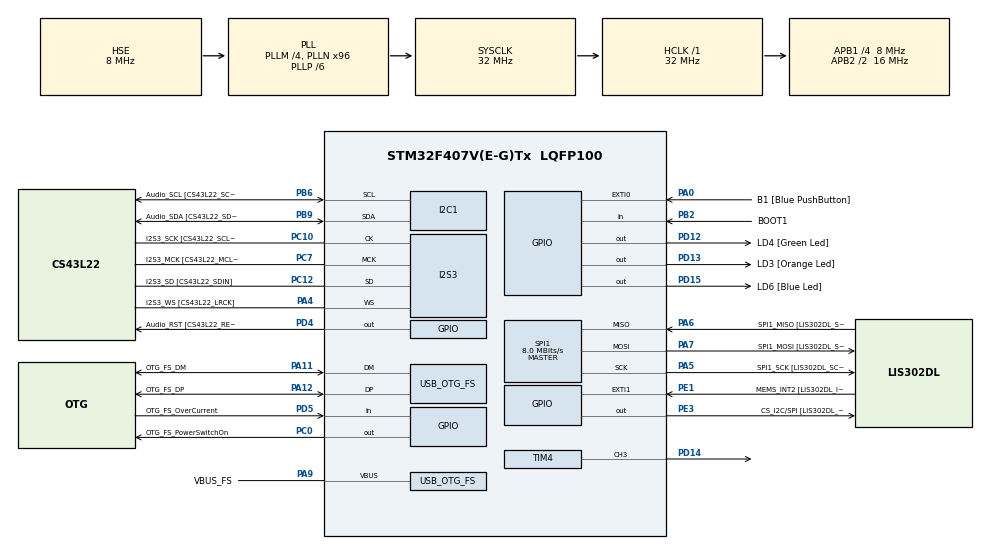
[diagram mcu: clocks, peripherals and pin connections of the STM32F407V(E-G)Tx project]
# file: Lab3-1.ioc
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I2S3.AudioFreq=I2S_AUDIOFREQ_96K
I2S3.AudioFreq-Half_Duplex_Master=I2S_AUDIOFREQ_96K
I2S3.ErrorAudioFreq=- %
I2S3.ErrorAudioFreq-Half_Duplex_Master=0.8 %
I2S3.FullDuplexMode=I2S_FULLDUPLEXMODE_DISABLE
I2S3.Instance=SPI$Index
I2S3.RealAudioFreq=- Hz
I2S3.RealAudioFreq-Half_Duplex_Master=96.774 KHz
I2S3.VirtualMode=I2S_MODE_MASTER
Mcu.Family=STM32F4
Mcu.Name=STM32F407V(E-G)Tx
Mcu.Package=LQFP100
NVIC.EXTI0_IRQn=true\:2\:0\:true\:false\:true\:true\:true
NVIC.OTG_FS_IRQn=true\:0\:0\:false\:false\:true\:true\:true
NVIC.PriorityGroup=NVIC_PRIORITYGROUP_2
NVIC.TIM4_IRQn=true\:2\:0\:true\:false\:true\:true\:true
PA0-WKUP.GPIO_Label=B1 [Blue PushButton]
PA0-WKUP.GPIO_ModeDefaultEXTI=GPIO_MODE_IT_RISING
PA0-WKUP.GPIO_PuPd=GPIO_NOPULL
PA0-WKUP.Signal=GPXTI0
PA10.GPIO_Label=OTG_FS_ID
PA10.GPIO_Mode=GPIO_MODE_AF_PP
PA10.GPIO_PuPd=GPIO_NOPULL
PA10.GPIO_Speed=GPIO_SPEED_FREQ_LOW
PA10.Signal=USB_OTG_FS_ID
PA11.GPIO_Label=OTG_FS_DM
PA11.GPIO_Mode=GPIO_MODE_AF_PP
PA11.GPIO_PuPd=GPIO_NOPULL
PA11.GPIO_Speed=GPIO_SPEED_FREQ_LOW
PA11.Mode=Host_Only
PA11.Signal=USB_OTG_FS_DM
PA12.GPIO_Label=OTG_FS_DP
PA12.GPIO_Mode=GPIO_MODE_AF_PP
PA12.GPIO_PuPd=GPIO_NOPULL
PA12.GPIO_Speed=GPIO_SPEED_FREQ_LOW
PA12.Mode=Host_Only
PA12.Signal=USB_OTG_FS_DP
PA13.GPIO_Label=SWDIO
PA13.Mode=Serial_Wire
PA13.Signal=SYS_JTMS-SWDIO
PA14.GPIO_Label=SWCLK
PA14.Mode=Serial_Wire
PA14.Signal=SYS_JTCK-SWCLK
PA4.GPIO_Label=I2S3_WS [CS43L22_LRCK]
PA4.GPIO_Mode=GPIO_MODE_AF_PP
PA4.GPIO_PuPd=GPIO_NOPULL
PA4.GPIO_Speed=GPIO_SPEED_FREQ_LOW
PA4.Mode=Half_Duplex_Master
PA4.Signal=I2S3_WS
PA5.GPIO_Label=SPI1_SCK [LIS302DL_SCL/SPC]
PA5.GPIO_Mode=GPIO_MODE_AF_PP
PA5.GPIO_PuPd=GPIO_NOPULL
PA5.GPIO_Speed=GPIO_SPEED_FREQ_LOW
PA5.Mode=Full_Duplex_Master
PA5.Signal=SPI1_SCK
PA6.GPIO_Label=SPI1_MISO [LIS302DL_SDO]
PA6.GPIO_Mode=GPIO_MODE_AF_PP
PA6.GPIO_PuPd=GPIO_NOPULL
PA6.GPIO_Speed=GPIO_SPEED_FREQ_LOW
PA6.Mode=Full_Duplex_Master
PA6.Signal=SPI1_MISO
PA7.GPIO_Label=SPI1_MOSI [LIS302DL_SDA/SDI/SDO]
PA7.GPIO_Mode=GPIO_MODE_AF_PP
PA7.GPIO_PuPd=GPIO_NOPULL
PA7.GPIO_Speed=GPIO_SPEED_FREQ_LOW
PA7.Mode=Full_Duplex_Master
PA7.Signal=SPI1_MOSI
PA9.GPIO_Label=VBUS_FS
PA9.GPIO_Mode=GPIO_MODE_INPUT
PA9.GPIO_PuPd=GPIO_NOPULL
PA9.Mode=Activate_VBUS
PA9.Signal=USB_OTG_FS_VBUS
PB10.GPIO_Label=CLK_IN [MP45DT02_CLK]
PB10.GPIO_Mode=GPIO_MODE_AF_PP
PB10.GPIO_PuPd=GPIO_NOPULL
PB10.GPIO_Speed=GPIO_SPEED_FREQ_LOW
PB10.Signal=I2S2_CK
PB2.GPIO_Label=BOOT1
PB2.GPIO_Mode=GPIO_MODE_INPUT
PB2.GPIO_PuPd=GPIO_NOPULL
PB2.Signal=GPIO_Input
PB3.GPIO_Label=SWO
PB3.Signal=SYS_JTDO-SWO
PB6.GPIO_Label=Audio_SCL [CS43L22_SCL]
PB6.GPIO_Mode=GPIO_MODE_AF_OD
PB6.GPIO_PuPd=GPIO_NOPULL
PB6.GPIO_Speed=GPIO_SPEED_FREQ_LOW
PB6.Mode=I2C
PB6.Signal=I2C1_SCL
PB9.GPIO_Label=Audio_SDA [CS43L22_SDA]
PB9.GPIO_Mode=GPIO_MODE_AF_OD
PB9.GPIO_PuPd=GPIO_NOPULL
PB9.GPIO_Speed=GPIO_SPEED_FREQ_LOW
PB9.Mode=I2C
PB9.Signal=I2C1_SDA
PC0.GPIO_Label=OTG_FS_PowerSwitchOn
PC0.GPIO_PuPd=GPIO_NOPULL
PC0.GPIO_Speed=GPIO_SPEED_FREQ_LOW
PC0.PinState=GPIO_PIN_SET
PC0.Signal=GPIO_Output
PC10.GPIO_Label=I2S3_SCK [CS43L22_SCLK]
PC10.GPIO_Mode=GPIO_MODE_AF_PP
PC10.GPIO_PuPd=GPIO_NOPULL
PC10.GPIO_Speed=GPIO_SPEED_FREQ_LOW
PC10.Mode=Half_Duplex_Master
PC10.Signal=I2S3_CK
PC12.GPIO_Label=I2S3_SD [CS43L22_SDIN]
PC12.GPIO_Mode=GPIO_MODE_AF_PP
PC12.GPIO_PuPd=GPIO_NOPULL
PC12.GPIO_Speed=GPIO_SPEED_FREQ_LOW
PC12.Mode=Half_Duplex_Master
PC12.Signal=I2S3_SD
PC14-OSC32_IN.GPIO_Label=PC14-OSC32_IN
PC14-OSC32_IN.Mode=LSE-External-Oscillator
PC14-OSC32_IN.Signal=RCC_OSC32_IN
PC15-OSC32_OUT.GPIO_Label=PC15-OSC32_OUT
PC15-OSC32_OUT.Mode=LSE-External-Oscillator
PC15-OSC32_OUT.Signal=RCC_OSC32_OUT
PC3.GPIO_Label=PDM_OUT [MP45DT02_DOUT]
PC3.GPIO_Mode=GPIO_MODE_AF_PP
PC3.GPIO_PuPd=GPIO_NOPULL
PC3.GPIO_Speed=GPIO_SPEED_FREQ_LOW
PC3.Signal=I2S2_SD
PC7.GPIO_Label=I2S3_MCK [CS43L22_MCLK]
PC7.GPIO_Mode=GPIO_MODE_AF_PP
PC7.GPIO_PuPd=GPIO_NOPULL
PC7.GPIO_Speed=GPIO_SPEED_FREQ_LOW
PC7.Mode=Master_Clock_Activated
PC7.Signal=I2S3_MCK
PD12.GPIO_Label=LD4 [Green Led]
PD12.GPIO_PuPd=GPIO_NOPULL
PD12.GPIO_Speed=GPIO_SPEED_FREQ_LOW
PD12.Signal=GPIO_Output
PD13.GPIO_Label=LD3 [Orange Led]
PD13.GPIO_PuPd=GPIO_NOPULL
PD13.GPIO_Speed=GPIO_SPEED_FREQ_LOW
PD13.Signal=GPIO_Output
PD14.Signal=S_TIM4_CH3
PD15.GPIO_Label=LD6 [Blue Led]
PD15.GPIO_PuPd=GPIO_NOPULL
PD15.GPIO_Speed=GPIO_SPEED_FREQ_LOW
PD15.Signal=GPIO_Output
PD4.GPIO_Label=Audio_RST [CS43L22_RESET]
PD4.GPIO_PuPd=GPIO_NOPULL
PD4.GPIO_Speed=GPIO_SPEED_FREQ_LOW
PD4.Signal=GPIO_Output
PD5.GPIO_Label=OTG_FS_OverCurrent
PD5.GPIO_Mode=GPIO_MODE_INPUT
PD5.GPIO_PuPd=GPIO_NOPULL
PD5.Signal=GPIO_Input
PE1.GPIO_Label=MEMS_INT2 [LIS302DL_INT2]
PE1.GPIO_ModeDefaultEXTI=GPIO_MODE_EVT_RISING
PE1.GPIO_PuPd=GPIO_NOPULL
PE1.Signal=GPXTI1
PE3.GPIO_Label=CS_I2C/SPI [LIS302DL_CS_I2C/SPI]
PE3.GPIO_PuPd=GPIO_NOPULL
PE3.GPIO_Speed=GPIO_SPEED_FREQ_LOW
PE3.Signal=GPIO_Output
PH0-OSC_IN.GPIO_Label=PH0-OSC_IN
PH0-OSC_IN.Mode=HSE-External-Oscillator
PH0-OSC_IN.Signal=RCC_OSC_IN
PH1-OSC_OUT.GPIO_Label=PH1-OSC_OUT
PH1-OSC_OUT.Mode=HSE-External-Oscillator
PH1-OSC_OUT.Signal=RCC_OSC_OUT
ProjectManager.HeapSize=0x200
ProjectManager.StackSize=0x400
ProjectManager.TargetToolchain=STM32CubeIDE
RCC.48MHZClocksFreq_Value=48000000
RCC.AHBFreq_Value=32000000
RCC.APB1CLKDivider=RCC_HCLK_DIV4
RCC.APB1Freq_Value=8000000
RCC.APB1TimFreq_Value=16000000
RCC.APB2CLKDivider=RCC_HCLK_DIV2
RCC.APB2Freq_Value=16000000
RCC.APB2TimFreq_Value=32000000
RCC.CortexFreq_Value=32000000
RCC.HCLKFreq_Value=32000000
RCC.HSE_VALUE=8000000
RCC.HSI_VALUE=16000000
RCC.PLLI2SN=50
RCC.PLLM=4
RCC.PLLN=96
RCC.PLLP=RCC_PLLP_DIV6
RCC.SYSCLKFreq_VALUE=32000000
RCC.SYSCLKSource=RCC_SYSCLKSOURCE_PLLCLK
RCC.VCOOutputFreq_Value=192000000
SH.S_TIM4_CH3.0=TIM4_CH3,PWM Generation3 CH3
SPI1.BaudRatePrescaler-Full_Duplex_Master=SPI_BAUDRATEPRESCALER_2
SPI1.CalculateBaudRate=8.0 MBits/s
SPI1.CalculateBaudRate-Full_Duplex_Master=42.0 MBits/s
SPI1.Direction=SPI_DIRECTION_2LINES
SPI1.Mode=SPI_MODE_MASTER
SPI1.Mode-Full_Duplex_Master=SPI_MODE_MASTER
SPI1.VirtualType=VM_MASTER
TIM4.AutoReloadPreload=TIM_AUTORELOAD_PRELOAD_ENABLE
TIM4.Channel-PWM\ Generation3\ CH3=TIM_CHANNEL_3
TIM4.Period=199
TIM4.Prescaler=15999
TIM4.Pulse-PWM\ Generation3\ CH3=99
USB_HOST.BSP.number=1
USB_HOST.USBH_HandleTypeDef-CDC_FS=hUsbHostFS
USB_HOST.VirtualModeFS=Cdc
USB_HOST0.BSP.STBoard=false
USB_HOST0.BSP.api=Unknown
USB_HOST0.BSP.i2caddr=0
USB_HOST0.BSP.i2creg=0
USB_HOST0.BSP.instance=PC0
USB_HOST0.BSP.ip=GPIO
USB_HOST0.BSP.mode=Output
USB_HOST0.BSP.name=Drive_VBUS_FS
USB_HOST0.BSP.solution=PC0
USB_OTG_FS.VirtualMode=Host_Only
USB_OTG_FS.phy_itface=HCD_PHY_EMBEDDED
VP_TIM4_VS_ClockSourceINT.Mode=Internal
VP_USB_HOST_VS_USB_HOST_CDC_FS.Mode=CDC_FS
board=STM32F4DISCOVERY

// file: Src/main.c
/* USER CODE BEGIN Header */
/**
  ******************************************************************************
  * @file           : main.c
  * @brief          : Main program body
  ******************************************************************************
  * @attention
  *
  * <h2><center>&copy; Copyright (c) 2019 STMicroelectronics.
  * All rights reserved.</center></h2>
  *
  * This software component is licensed by ST under Ultimate Liberty license
  * SLA0044, the "License"; You may not use this file except in compliance with
  * the License. You may obtain a copy of the License at:
  *                             www.st.com/SLA0044
  *
  ******************************************************************************
  */
/* USER CODE END Header */

#include "main.h"
#include "usb_host.h"

I2C_HandleTypeDef hi2c1;

I2S_HandleTypeDef hi2s3;

SPI_HandleTypeDef hspi1;

TIM_HandleTypeDef htim4;

void SystemClock_Config(void);
static void MX_GPIO_Init(void);
static void MX_I2C1_Init(void);
static void MX_I2S3_Init(void);
static void MX_SPI1_Init(void);
static void MX_TIM4_Init(void);
void MX_USB_HOST_Process(void);

/* USER CODE BEGIN 0 */
int state = 0;

void HAL_GPIO_EXTI_Callback(uint16_t GPIO_Pin) {

	HAL_GPIO_TogglePin(GPIOD, GPIO_PIN_15);
	if (state == 0) state = 1;
	else if (state == 1) state = 2;
	else if (state == 2) state = 0;
    while (HAL_GPIO_ReadPin(GPIOA, GPIO_PIN_0));
    HAL_TIM_PWM_Init(&htim4); /*may use TIM->CNT to force cnt to the end-point(max arr of previous period) of timer period instead of this line*/
	HAL_Delay(100);
	__HAL_GPIO_EXTI_CLEAR_IT(GPIO_Pin);
}

/* USER CODE END 0 */

int main(void)
{

  /* MCU Configuration--------------------------------------------------------*/

  /* Reset of all peripherals, Initializes the Flash interface and the Systick. */
  HAL_Init();

  /* Configure the system clock */
  SystemClock_Config();

  /* Initialize all configured peripherals */
  MX_GPIO_Init();
  MX_I2C1_Init();
  MX_I2S3_Init();
  MX_SPI1_Init();
  MX_USB_HOST_Init();
  MX_TIM4_Init();
  /* USER CODE BEGIN 2 */
  HAL_TIM_PWM_Start(&htim4, TIM_CHANNEL_3);
  /* USER CODE END 2 */

  /* Infinite loop */
  while (1)
  {
    MX_USB_HOST_Process();

    /* USER CODE BEGIN 3 */
    if (state == 0) {
    	TIM4->ARR = 199;
    	TIM4->CCR3 = 99;
    } else if (state == 1){
    	TIM4->ARR = 999;
    	TIM4->CCR3 = 499;
    } else if (state == 2) {
    	TIM4->ARR = 4999;
    	TIM4->CCR3 = 2499;
    }
  }
  /* USER CODE END 3 */
}

void SystemClock_Config(void)
{
  RCC_OscInitTypeDef RCC_OscInitStruct = {0};
  RCC_ClkInitTypeDef RCC_ClkInitStruct = {0};
  RCC_PeriphCLKInitTypeDef PeriphClkInitStruct = {0};

  /** Configure the main internal regulator output voltage
  */
  __HAL_RCC_PWR_CLK_ENABLE();
  __HAL_PWR_VOLTAGESCALING_CONFIG(PWR_REGULATOR_VOLTAGE_SCALE1);
  /** Initializes the CPU, AHB and APB busses clocks
  */
  RCC_OscInitStruct.OscillatorType = RCC_OSCILLATORTYPE_HSE;
  RCC_OscInitStruct.HSEState = RCC_HSE_ON;
  RCC_OscInitStruct.PLL.PLLState = RCC_PLL_ON;
  RCC_OscInitStruct.PLL.PLLSource = RCC_PLLSOURCE_HSE;
  RCC_OscInitStruct.PLL.PLLM = 4;
  RCC_OscInitStruct.PLL.PLLN = 96;
  RCC_OscInitStruct.PLL.PLLP = RCC_PLLP_DIV6;
  RCC_OscInitStruct.PLL.PLLQ = 4;
  if (HAL_RCC_OscConfig(&RCC_OscInitStruct) != HAL_OK)
  {
    Error_Handler();
  }
  /** Initializes the CPU, AHB and APB busses clocks
  */
  RCC_ClkInitStruct.ClockType = RCC_CLOCKTYPE_HCLK|RCC_CLOCKTYPE_SYSCLK
                              |RCC_CLOCKTYPE_PCLK1|RCC_CLOCKTYPE_PCLK2;
  RCC_ClkInitStruct.SYSCLKSource = RCC_SYSCLKSOURCE_PLLCLK;
  RCC_ClkInitStruct.AHBCLKDivider = RCC_SYSCLK_DIV1;
  RCC_ClkInitStruct.APB1CLKDivider = RCC_HCLK_DIV4;
  RCC_ClkInitStruct.APB2CLKDivider = RCC_HCLK_DIV2;

  if (HAL_RCC_ClockConfig(&RCC_ClkInitStruct, FLASH_LATENCY_1) != HAL_OK)
  {
    Error_Handler();
  }
  PeriphClkInitStruct.PeriphClockSelection = RCC_PERIPHCLK_I2S;
  PeriphClkInitStruct.PLLI2S.PLLI2SN = 50;
  PeriphClkInitStruct.PLLI2S.PLLI2SR = 2;
  if (HAL_RCCEx_PeriphCLKConfig(&PeriphClkInitStruct) != HAL_OK)
  {
    Error_Handler();
  }
}

static void MX_I2C1_Init(void)
{

  hi2c1.Instance = I2C1;
  hi2c1.Init.ClockSpeed = 100000;
  hi2c1.Init.DutyCycle = I2C_DUTYCYCLE_2;
  hi2c1.Init.OwnAddress1 = 0;
  hi2c1.Init.AddressingMode = I2C_ADDRESSINGMODE_7BIT;
  hi2c1.Init.DualAddressMode = I2C_DUALADDRESS_DISABLE;
  hi2c1.Init.OwnAddress2 = 0;
  hi2c1.Init.GeneralCallMode = I2C_GENERALCALL_DISABLE;
  hi2c1.Init.NoStretchMode = I2C_NOSTRETCH_DISABLE;
  if (HAL_I2C_Init(&hi2c1) != HAL_OK)
  {
    Error_Handler();
  }

}

static void MX_I2S3_Init(void)
{

  hi2s3.Instance = SPI3;
  hi2s3.Init.Mode = I2S_MODE_MASTER_TX;
  hi2s3.Init.Standard = I2S_STANDARD_PHILIPS;
  hi2s3.Init.DataFormat = I2S_DATAFORMAT_16B;
  hi2s3.Init.MCLKOutput = I2S_MCLKOUTPUT_ENABLE;
  hi2s3.Init.AudioFreq = I2S_AUDIOFREQ_96K;
  hi2s3.Init.CPOL = I2S_CPOL_LOW;
  hi2s3.Init.ClockSource = I2S_CLOCK_PLL;
  hi2s3.Init.FullDuplexMode = I2S_FULLDUPLEXMODE_DISABLE;
  if (HAL_I2S_Init(&hi2s3) != HAL_OK)
  {
    Error_Handler();
  }

}

static void MX_SPI1_Init(void)
{

  /* SPI1 parameter configuration*/
  hspi1.Instance = SPI1;
  hspi1.Init.Mode = SPI_MODE_MASTER;
  hspi1.Init.Direction = SPI_DIRECTION_2LINES;
  hspi1.Init.DataSize = SPI_DATASIZE_8BIT;
  hspi1.Init.CLKPolarity = SPI_POLARITY_LOW;
  hspi1.Init.CLKPhase = SPI_PHASE_1EDGE;
  hspi1.Init.NSS = SPI_NSS_SOFT;
  hspi1.Init.BaudRatePrescaler = SPI_BAUDRATEPRESCALER_2;
  hspi1.Init.FirstBit = SPI_FIRSTBIT_MSB;
  hspi1.Init.TIMode = SPI_TIMODE_DISABLE;
  hspi1.Init.CRCCalculation = SPI_CRCCALCULATION_DISABLE;
  hspi1.Init.CRCPolynomial = 10;
  if (HAL_SPI_Init(&hspi1) != HAL_OK)
  {
    Error_Handler();
  }

}

static void MX_TIM4_Init(void)
{

  TIM_ClockConfigTypeDef sClockSourceConfig = {0};
  TIM_MasterConfigTypeDef sMasterConfig = {0};
  TIM_OC_InitTypeDef sConfigOC = {0};

  htim4.Instance = TIM4;
  htim4.Init.Prescaler = 15999;
  htim4.Init.CounterMode = TIM_COUNTERMODE_UP;
  htim4.Init.Period = 199;
  htim4.Init.ClockDivision = TIM_CLOCKDIVISION_DIV1;
  htim4.Init.AutoReloadPreload = TIM_AUTORELOAD_PRELOAD_ENABLE;
  if (HAL_TIM_Base_Init(&htim4) != HAL_OK)
  {
    Error_Handler();
  }
  sClockSourceConfig.ClockSource = TIM_CLOCKSOURCE_INTERNAL;
  if (HAL_TIM_ConfigClockSource(&htim4, &sClockSourceConfig) != HAL_OK)
  {
    Error_Handler();
  }
  if (HAL_TIM_PWM_Init(&htim4) != HAL_OK)
  {
    Error_Handler();
  }
  sMasterConfig.MasterOutputTrigger = TIM_TRGO_RESET;
  sMasterConfig.MasterSlaveMode = TIM_MASTERSLAVEMODE_DISABLE;
  if (HAL_TIMEx_MasterConfigSynchronization(&htim4, &sMasterConfig) != HAL_OK)
  {
    Error_Handler();
  }
  sConfigOC.OCMode = TIM_OCMODE_PWM1;
  sConfigOC.Pulse = 99;
  sConfigOC.OCPolarity = TIM_OCPOLARITY_HIGH;
  sConfigOC.OCFastMode = TIM_OCFAST_DISABLE;
  if (HAL_TIM_PWM_ConfigChannel(&htim4, &sConfigOC, TIM_CHANNEL_3) != HAL_OK)
  {
    Error_Handler();
  }
  HAL_TIM_MspPostInit(&htim4);

}

static void MX_GPIO_Init(void)
{
  GPIO_InitTypeDef GPIO_InitStruct = {0};

  /* GPIO Ports Clock Enable */
  __HAL_RCC_GPIOE_CLK_ENABLE();
  __HAL_RCC_GPIOC_CLK_ENABLE();
  __HAL_RCC_GPIOH_CLK_ENABLE();
  __HAL_RCC_GPIOA_CLK_ENABLE();
  __HAL_RCC_GPIOB_CLK_ENABLE();
  __HAL_RCC_GPIOD_CLK_ENABLE();

  /*Configure GPIO pin Output Level */
  HAL_GPIO_WritePin(CS_I2C_SPI_GPIO_Port, CS_I2C_SPI_Pin, GPIO_PIN_RESET);

  /*Configure GPIO pin Output Level */
  HAL_GPIO_WritePin(OTG_FS_PowerSwitchOn_GPIO_Port, OTG_FS_PowerSwitchOn_Pin, GPIO_PIN_SET);

  /*Configure GPIO pin Output Level */
  HAL_GPIO_WritePin(GPIOD, LD4_Pin|LD3_Pin|LD6_Pin|Audio_RST_Pin, GPIO_PIN_RESET);

  /*Configure GPIO pin : CS_I2C_SPI_Pin */
  GPIO_InitStruct.Pin = CS_I2C_SPI_Pin;
  GPIO_InitStruct.Mode = GPIO_MODE_OUTPUT_PP;
  GPIO_InitStruct.Pull = GPIO_NOPULL;
  GPIO_InitStruct.Speed = GPIO_SPEED_FREQ_LOW;
  HAL_GPIO_Init(CS_I2C_SPI_GPIO_Port, &GPIO_InitStruct);

  /*Configure GPIO pin : OTG_FS_PowerSwitchOn_Pin */
  GPIO_InitStruct.Pin = OTG_FS_PowerSwitchOn_Pin;
  GPIO_InitStruct.Mode = GPIO_MODE_OUTPUT_PP;
  GPIO_InitStruct.Pull = GPIO_NOPULL;
  GPIO_InitStruct.Speed = GPIO_SPEED_FREQ_LOW;
  HAL_GPIO_Init(OTG_FS_PowerSwitchOn_GPIO_Port, &GPIO_InitStruct);

  /*Configure GPIO pin : PDM_OUT_Pin */
  GPIO_InitStruct.Pin = PDM_OUT_Pin;
  GPIO_InitStruct.Mode = GPIO_MODE_AF_PP;
  GPIO_InitStruct.Pull = GPIO_NOPULL;
  GPIO_InitStruct.Speed = GPIO_SPEED_FREQ_LOW;
  GPIO_InitStruct.Alternate = GPIO_AF5_SPI2;
  HAL_GPIO_Init(PDM_OUT_GPIO_Port, &GPIO_InitStruct);

  /*Configure GPIO pin : B1_Pin */
  GPIO_InitStruct.Pin = B1_Pin;
  GPIO_InitStruct.Mode = GPIO_MODE_IT_RISING;
  GPIO_InitStruct.Pull = GPIO_NOPULL;
  HAL_GPIO_Init(B1_GPIO_Port, &GPIO_InitStruct);

  /*Configure GPIO pin : BOOT1_Pin */
  GPIO_InitStruct.Pin = BOOT1_Pin;
  GPIO_InitStruct.Mode = GPIO_MODE_INPUT;
  GPIO_InitStruct.Pull = GPIO_NOPULL;
  HAL_GPIO_Init(BOOT1_GPIO_Port, &GPIO_InitStruct);

  /*Configure GPIO pin : CLK_IN_Pin */
  GPIO_InitStruct.Pin = CLK_IN_Pin;
  GPIO_InitStruct.Mode = GPIO_MODE_AF_PP;
  GPIO_InitStruct.Pull = GPIO_NOPULL;
  GPIO_InitStruct.Speed = GPIO_SPEED_FREQ_LOW;
  GPIO_InitStruct.Alternate = GPIO_AF5_SPI2;
  HAL_GPIO_Init(CLK_IN_GPIO_Port, &GPIO_InitStruct);

  /*Configure GPIO pins : LD4_Pin LD3_Pin LD6_Pin Audio_RST_Pin */
  GPIO_InitStruct.Pin = LD4_Pin|LD3_Pin|LD6_Pin|Audio_RST_Pin;
  GPIO_InitStruct.Mode = GPIO_MODE_OUTPUT_PP;
  GPIO_InitStruct.Pull = GPIO_NOPULL;
  GPIO_InitStruct.Speed = GPIO_SPEED_FREQ_LOW;
  HAL_GPIO_Init(GPIOD, &GPIO_InitStruct);

  /*Configure GPIO pin : OTG_FS_OverCurrent_Pin */
  GPIO_InitStruct.Pin = OTG_FS_OverCurrent_Pin;
  GPIO_InitStruct.Mode = GPIO_MODE_INPUT;
  GPIO_InitStruct.Pull = GPIO_NOPULL;
  HAL_GPIO_Init(OTG_FS_OverCurrent_GPIO_Port, &GPIO_InitStruct);

  /*Configure GPIO pin : MEMS_INT2_Pin */
  GPIO_InitStruct.Pin = MEMS_INT2_Pin;
  GPIO_InitStruct.Mode = GPIO_MODE_EVT_RISING;
  GPIO_InitStruct.Pull = GPIO_NOPULL;
  HAL_GPIO_Init(MEMS_INT2_GPIO_Port, &GPIO_InitStruct);

  /* EXTI interrupt init*/
  HAL_NVIC_SetPriority(EXTI0_IRQn, 2, 0);
  HAL_NVIC_EnableIRQ(EXTI0_IRQn);

}

void Error_Handler(void)
{
}

/************************ (C) COPYRIGHT STMicroelectronics *****END OF FILE****/
